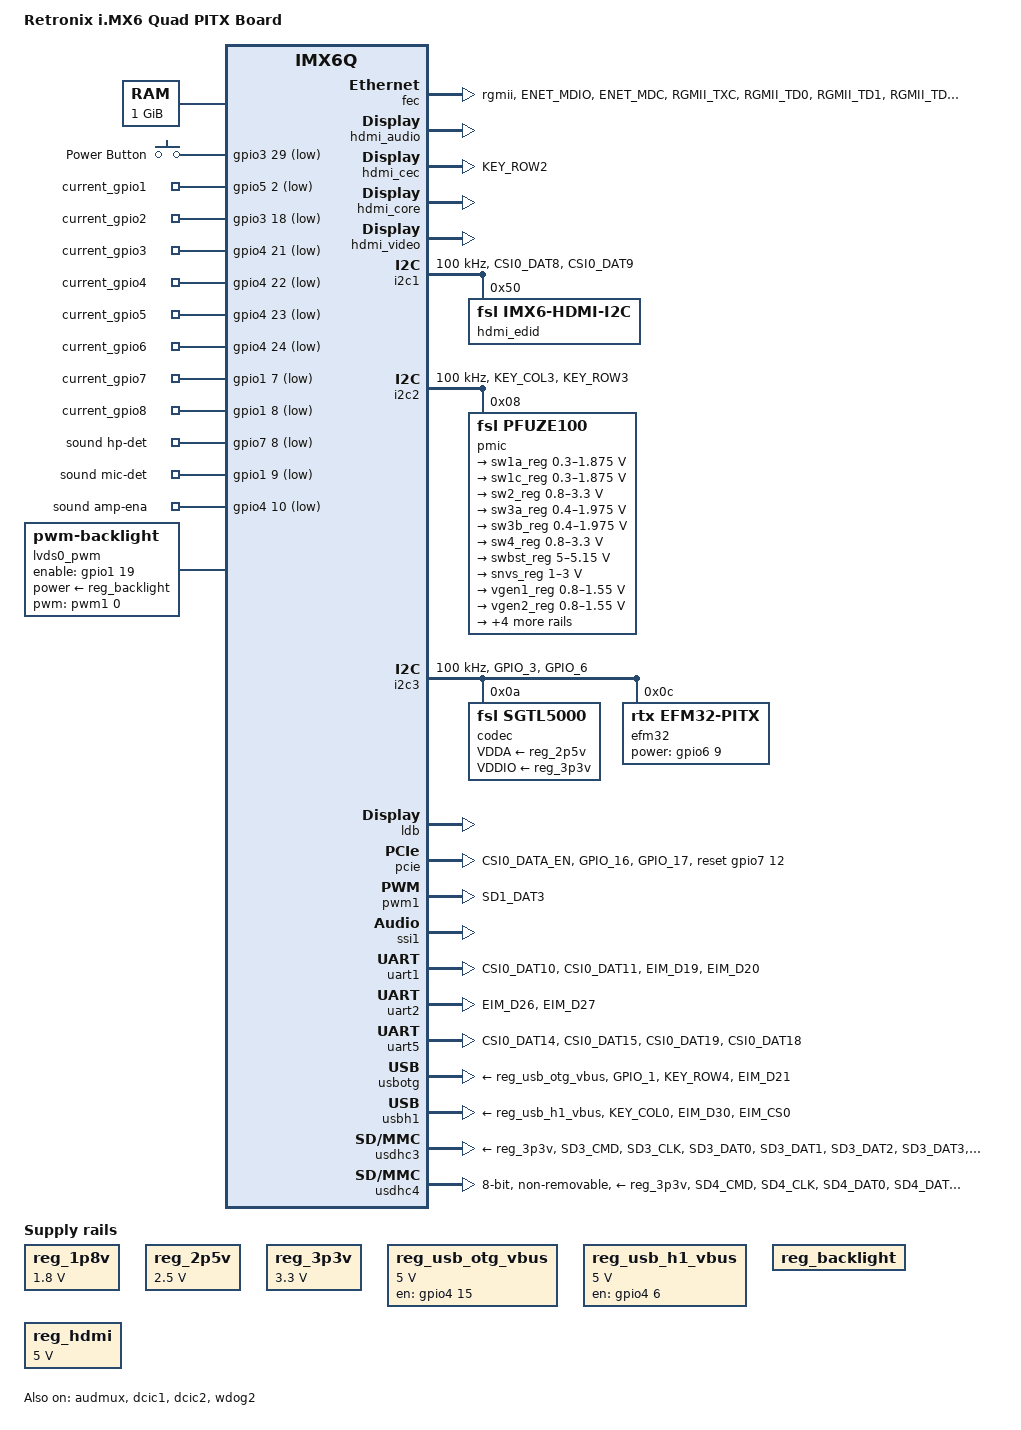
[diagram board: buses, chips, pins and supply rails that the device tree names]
// SPDX-License-Identifier: GPL-2.0+
//
// Copyright 2012 Freescale Semiconductor, Inc.
// Copyright 2011 Linaro Ltd.

/dts-v1/;

#include <dt-bindings/clock/imx6qdl-clock.h>
#include <dt-bindings/gpio/gpio.h>
#include <dt-bindings/input/input.h>
#include "imx6q.dtsi"

/ {
	model = "Retronix i.MX6 Quad PITX Board";
	compatible = "rtx,rtx-imx6q-pitx", "fsl,imx6q";

	aliases {
		mmc0 = &usdhc4;
		mmc1 = &usdhc3;
		mmc2 = &usdhc2;
		mmc3 = &usdhc1;
		mxcfb0 = &mxcfb1;
		mxcfb1 = &mxcfb2;
		mxcfb2 = &mxcfb3;
		mxcfb3 = &mxcfb4;
	};

	memory: memory@10000000 {
		device_type = "memory";
		reg = <0x10000000 0x40000000>;
	};

	reg_1p8v: 1p8v {
		compatible = "regulator-fixed";
		regulator-name = "1P8V";
		regulator-min-microvolt = <1800000>;
		regulator-max-microvolt = <1800000>;
		regulator-always-on;
	};

	reg_2p5v: 2p5v {
		compatible = "regulator-fixed";
		regulator-name = "2P5V";
		regulator-min-microvolt = <2500000>;
		regulator-max-microvolt = <2500000>;
		regulator-always-on;
	};

	reg_3p3v: 3p3v {
		compatible = "regulator-fixed";
		regulator-name = "3P3V";
		regulator-min-microvolt = <3300000>;
		regulator-max-microvolt = <3300000>;
		regulator-always-on;
	};

	reg_usb_otg_vbus: usb_otg_vbus {
		compatible = "regulator-fixed";
		regulator-name = "usb_otg_vbus";
		regulator-min-microvolt = <5000000>;
		regulator-max-microvolt = <5000000>;
		gpio = <&gpio4 15 0>;
		enable-active-high;
	};

	reg_usb_h1_vbus: usb_h1_vbus {
		compatible = "regulator-fixed";
		regulator-name = "usb_h1_vbus";
		regulator-min-microvolt = <5000000>;
		regulator-max-microvolt = <5000000>;
		gpio = <&gpio4 6 0>;
		enable-active-high;
	};

	reg_backlight: backlight {
		compatible = "regulator-fixed";
		regulator-name = "lcd-supply";
		startup-delay-us = <5000>;
		enable-active-high;
	};

	reg_hdmi: regulator-hdmi {
		compatible = "regulator-fixed";
		regulator-name = "hdmi-5v-supply";
		regulator-min-microvolt = <5000000>;
		regulator-max-microvolt = <5000000>;
		enable-active-high;
		hdmi-5v-supply = <&swbst_reg>;
	};

	gpio-keys {
		compatible = "gpio-keys";
		pinctrl-names = "default";
		pinctrl-0 = <&pinctrl_keys_pitx>;

		power {
			label = "Power Button";
			gpios = <&gpio3 29 1>;
			linux,code = <KEY_POWER>; /* KEY_POWER */
			gpio-key,wakeup;
		};

	};

	gpio_export {
		compatible = "gpio-export";

		/* current_gpio1 = <&gpio5 2 0>; 130 */
		current_gpio1 {
			gpio-export,name = "current_gpio1";
			gpio-export,output = <0>;
			gpio-export,direction_may_change ;
			gpios = <&gpio5 2 1>;
		};

		/* current_gpio2 = <&gpio3 18 0>; 82 */
		current_gpio2 {
			gpio-export,name = "current_gpio2";
			gpio-export,output = <1>;
			gpio-export,direction_may_change ;
			gpios = <&gpio3 18 1>;
		};

		/* 3234_en = <&gpio3 22 1>; 86 */
		current_gpio3 {
			gpio-export,name = "current_gpio3";
			gpio-export,output = <1>;
			gpio-export,direction_may_change ;
			gpios = <&gpio4 21 1>;
		};

		/* current_gpio4 = <&gpio4 22 0>; 118 */
		current_gpio4 {
			gpio-export,name = "current_gpio4";
			gpio-export,output = <1>;
			gpio-export,direction_may_change ;
			gpios = <&gpio4 22 1>;
		};

		/* current_gpio5 = <&gpio4 23 0>; 119 */
		current_gpio5 {
			gpio-export,name = "current_gpio5";
			gpio-export,output = <1>;
			gpio-export,direction_may_change ;
			gpios = <&gpio4 23 1>;
		};

		/* current_gpio6 = <&gpio4 24 0>; 120 */
		current_gpio6 {
			gpio-export,name = "current_gpio6";
			gpio-export,output = <1>;
			gpio-export,direction_may_change ;
			gpios = <&gpio4 24 1>;
		};

		/* current_gpio7 = <&gpio1 7 0>; 7 */
		current_gpio7 {
			gpio-export,name = "current_gpio7";
			gpio-export,output = <0>;
			gpio-export,direction_may_change ;
			gpios = <&gpio1 7 1>;
		};

		/* current_gpio8 = <&gpio1 8 0>; 8 */
		current_gpio8 {
			gpio-export,name = "current_gpio8";
			gpio-export,output = <1>;
			gpio-export,direction_may_change ;
			gpios = <&gpio1 8 1>;
		};

	};

	sound {
		compatible = "fsl,imx6q-rtx-pitx-sgtl5000",
			     "fsl,imx-audio-sgtl5000";
		model = "imx6q-rtx-pitx-sgtl5000";
		ssi-controller = <&ssi1>;
		audio-codec = <&codec>;
		audio-routing =
			"MIC_IN", "Mic Jack",
			"LINE_IN", "Line In Jack",
			"Headphone Jack", "HP_OUT",
			"Ext Spk", "LINE_OUT";
		mux-int-port = <1>;
		mux-ext-port = <3>;
		hp-det-gpios = <&gpio7 8 1>;
		mic-det-gpios = <&gpio1 9 1>;
		amp-ena-gpios = <&gpio4 10 1>;
	};

	sound-hdmi {
		compatible = "fsl,imx6q-audio-hdmi",
			     "fsl,imx-audio-hdmi";
		model = "imx-audio-hdmi";
		hdmi-controller = <&hdmi_audio>;
	};

	lvds0_pwm {
		compatible = "pwm-backlight";
		pwms = <&pwm1 0 5000000>;
		brightness-levels = <0 4 8 16 32 64 128 255>;
		default-brightness-level = <6>;
		enable-gpios = <&gpio1 19 0>;
		power-supply = <&reg_backlight>;
		status = "okay";
	};

	hannstar_cabc {
		compatible = "hannstar,cabc";

		lvds0 {
			gpios = <&gpio1 19 GPIO_ACTIVE_HIGH>;
		};
	};

	mxcfb1: fb@0 {
		compatible = "fsl,mxc_sdc_fb";
		disp_dev = "hdmi";
		interface_pix_fmt = "RGB24";
		mode_str ="1920x1080M@60";
		default_bpp = <24>;
		int_clk = <0>;
		late_init = <0>;
		status = "okay";
	};

	mxcfb2: fb@1 {
		compatible = "fsl,mxc_sdc_fb";
		disp_dev = "ldb";
		interface_pix_fmt = "RGB666";
		default_bpp = <16>;
		int_clk = <0>;
		late_init = <0>;
		status = "disabled";
	};

	mxcfb3: fb@2 {
		compatible = "fsl,mxc_sdc_fb";
		disp_dev = "lcd";
		interface_pix_fmt = "RGB565";
		mode_str ="CLAA-WVGA";
		default_bpp = <16>;
		int_clk = <0>;
		late_init = <0>;
		status = "disabled";
	};

	mxcfb4: fb@3 {
		compatible = "fsl,mxc_sdc_fb";
		disp_dev = "ldb";
		interface_pix_fmt = "RGB666";
		default_bpp = <16>;
		int_clk = <0>;
		late_init = <0>;
		status = "disabled";
	};
};

&audmux {
	pinctrl-names = "default";
	pinctrl-0 = <&pinctrl_audmux_pitx>;
	status = "okay";
};

&clks {
	assigned-clocks = <&clks IMX6QDL_CLK_LDB_DI0_SEL>,
			  <&clks IMX6QDL_CLK_LDB_DI1_SEL>;
	assigned-clock-parents = <&clks IMX6QDL_CLK_PLL2_PFD0_352M>,
				 <&clks IMX6QDL_CLK_PLL2_PFD0_352M>;
};

&dcic1 {
	dcic_id = <0>;
	dcic_mux = "dcic-hdmi";
	status = "okay";
};

&dcic2 {
	dcic_id = <1>;
	dcic_mux = "dcic-lvds1";
	status = "okay";
};

&fec {
	pinctrl-names = "default";
	pinctrl-0 = <&pinctrl_enet_pitx>;
	phy-mode = "rgmii";
	phy-reset-gpios = <&gpio1 25 0>;
	phy-reset-fall-duration = <1>;
	phy-reset-rise-duration = <20>;
	phy-reset-boot-on;
	status = "okay";
};

&hdmi_audio {
	status = "okay";
};

&hdmi_cec {
	pinctrl-names = "default";
	pinctrl-0 = <&pinctrl_hdmi_cec_pitx>;
	status = "okay";
};

&hdmi_core {
	ipu_id = <1>;
	disp_id = <0>;
	status = "okay";
};

&hdmi_video {
	fsl,phy_reg_vlev = <0x294>;
	fsl,phy_reg_cksymtx = <0x800d>;
	HDMI-supply = <&reg_hdmi>;
	status = "okay";
};

&i2c1 {
	clock-frequency = <100000>;
	pinctrl-names = "default";
	pinctrl-0 = <&pinctrl_i2c1_pitx>;
	status = "okay";

	hdmi_edid: edid@50 {
		compatible = "fsl,imx6-hdmi-i2c";
		reg = <0x50>;
	};
};

&i2c2 {
	clock-frequency = <100000>;
	pinctrl-names = "default";
	pinctrl-0 = <&pinctrl_i2c2_pitx>;
	status = "okay";

	pmic: pfuze100@8 {
		compatible = "fsl,pfuze100";
		reg = <0x08>;

		regulators {
			sw1a_reg: sw1ab {
				regulator-min-microvolt = <300000>;
				regulator-max-microvolt = <1875000>;
				regulator-boot-on;
				regulator-always-on;
				regulator-ramp-delay = <6250>;
			};

			sw1c_reg: sw1c {
				regulator-min-microvolt = <300000>;
				regulator-max-microvolt = <1875000>;
				regulator-boot-on;
				regulator-always-on;
				regulator-ramp-delay = <6250>;
			};

			sw2_reg: sw2 {
				regulator-min-microvolt = <800000>;
				regulator-max-microvolt = <3300000>;
				regulator-boot-on;
				regulator-always-on;
				regulator-ramp-delay = <6250>;
			};

			sw3a_reg: sw3a {
				regulator-min-microvolt = <400000>;
				regulator-max-microvolt = <1975000>;
				regulator-boot-on;
				regulator-always-on;
			};

			sw3b_reg: sw3b {
				regulator-min-microvolt = <400000>;
				regulator-max-microvolt = <1975000>;
				regulator-boot-on;
				regulator-always-on;
			};

			sw4_reg: sw4 {
				regulator-min-microvolt = <800000>;
				regulator-max-microvolt = <3300000>;
				regulator-boot-on;
				regulator-always-on;
			};

			swbst_reg: swbst {
				regulator-min-microvolt = <5000000>;
				regulator-max-microvolt = <5150000>;
				regulator-always-on;
			};

			snvs_reg: vsnvs {
				regulator-min-microvolt = <1000000>;
				regulator-max-microvolt = <3000000>;
				regulator-boot-on;
				regulator-always-on;
			};

			vref_reg: vrefddr {
				regulator-boot-on;
				regulator-always-on;
			};

			vgen1_reg: vgen1 {
				regulator-min-microvolt = <800000>;
				regulator-max-microvolt = <1550000>;
				regulator-boot-on;
				regulator-always-on;
			};

			vgen2_reg: vgen2 {
				regulator-min-microvolt = <800000>;
				regulator-max-microvolt = <1550000>;
				regulator-boot-on;
				regulator-always-on;
			};

			vgen3_reg: vgen3 {
				regulator-min-microvolt = <1800000>;
				regulator-max-microvolt = <3300000>;
				regulator-boot-on;
				regulator-always-on;
			};

			vgen4_reg: vgen4 {
				regulator-min-microvolt = <1800000>;
				regulator-max-microvolt = <3300000>;
				regulator-always-on;
			};

			vgen5_reg: vgen5 {
				regulator-min-microvolt = <1800000>;
				regulator-max-microvolt = <3300000>;
				regulator-always-on;
			};

			vgen6_reg: vgen6 {
				regulator-min-microvolt = <1800000>;
				regulator-max-microvolt = <3300000>;
				regulator-always-on;
			};
		};
	};
};

&i2c3 {
	clock-frequency = <100000>;
	pinctrl-names = "default";
	pinctrl-0 = <&pinctrl_i2c3_pitx>;
	status = "okay";

	codec: sgtl5000@a {
		compatible = "fsl,sgtl5000";
		reg = <0x0a>;
		clocks = <&clks IMX6QDL_CLK_CKO>;
		VDDA-supply = <&reg_2p5v>;
		VDDIO-supply = <&reg_3p3v>;
		amic-mono;
	};

	efm32: rtx-efm32@c {
		compatible = "rtx,efm32-pitx";
		pinctrl-names = "default";
		pinctrl-0 = <&pinctrl_mcu_pitx>;
		reg = <0x0c>;
		gpio-power = <&gpio6 9 0>;
	};
};

&ldb {
	status = "okay";

	lvds-channel@0 {
		fsl,data-mapping = "spwg";
		fsl,data-width = <24>;
		primary;
		crtc = "ipu1-di0";
		interface_pix_fmt = "RGB24";
		status = "okay";

		display-timings {
			native-mode = <&timing0>;
			timing0: hsd100pxn1 {
				clock-frequency = <65000000>;
				hactive = <1024>;
				hfront-porch = <240>;
				hback-porch = <0>;
				hsync-len = <80>;
				vactive = <768>;
				vfront-porch = <28>;
				vback-porch = <0>;
				vsync-len = <7>;
				mode-is-detailed ;
				de-active = <1>;
			};
		};
	};

	lvds-channel@1 {
		fsl,data-mapping = "spwg";
		fsl,data-width = <24>;
		primary;
		crtc = "ipu1-di1";
		interface_pix_fmt = "RGB24";
		status = "okay";

		display-timings {
			native-mode = <&timing1>;
			timing1: hsd100pxn2 {
				clock-frequency = <65000000>;
				hactive = <1024>;
				hfront-porch = <240>;
				hback-porch = <0>;
				hsync-len = <80>;
				vactive = <768>;
				vfront-porch = <28>;
				vback-porch = <0>;
				vsync-len = <7>;
				mode-is-detailed ;
				de-active = <1>;
			};
		};
	};
};

&pcie {
	pinctrl-names = "default";
	pinctrl-0 = <&pinctrl_pcie_pitx>;
	reset-gpio = <&gpio7 12 0>;
	status = "okay";
};

&pwm1 {
	pinctrl-names = "default";
	pinctrl-0 = <&pinctrl_pwm1>;
	status = "okay";
};

&gpc {
	/* use ldo-enable, u-boot will check it and configure */
	fsl,ldo-bypass = <0>;
};

/*
&reg_arm {
       vin-supply = <&sw1a_reg>;
};

&reg_pu {
       vin-supply = <&sw1c_reg>;
};

&reg_soc {
       vin-supply = <&sw1c_reg>;
};
*/

&reg_vdd1p1 {
	vin-supply = <&vgen5_reg>;
};

&reg_vdd2p5 {
	vin-supply = <&vgen5_reg>;
};

&snvs_poweroff {
	status = "okay";
};

&ssi1 {
	fsl,mode = "i2s-slave";
	status = "okay";
};

&uart1 {
	pinctrl-names = "default", "rs422" ;
	pinctrl-0 = <&pinctrl_uart1_dte_rs232>;
	pinctrl-1 = <&pinctrl_uart1_dte_rs422>;
    /* fsl,dte-mode;
    DTE mode : CSI0_DAT10 is RX; CSI0_DAT11 is TX; EIM_D19 is RTS; EIM_D20 is CTS;
    DCE mode : CSI0_DAT10 is TX; CSI0_DAT11 is RX; EIM_D19 is CTS; EIM_D20 is RTS;
    */
	fsl,dte-mode;
	fsl,uart-has-rtscts;
	fsl,sp339e;
	fsl,sp339e-dir    = <&gpio3 20 0> ;
	fsl,sp339e-m0     = <&gpio3 23 0> ;
	fsl,sp339e-m1     = <&gpio3 25 0> ;
	fsl,sp339e-tm     = <&gpio3 24 0> ;
	fsl,sp339e-slew   = <&gpio4 9 0> ;
	status = "okay";
};

&uart2 {
	pinctrl-names = "default";
	pinctrl-0 = <&pinctrl_uart2_pitx>;
    /* fsl,dte-mode;
    DTE mode : EIM_D26 is RX; EIM_D27 is TX;
    DCE mode : EIM_D26 is TX; EIM_D27 is RX;
    */
	status = "okay";
};

&uart5 {
	pinctrl-names = "default", "rs422";
	pinctrl-0 = <&pinctrl_uart5_dte_rs232>;
	pinctrl-1 = <&pinctrl_uart5_dte_rs422>;
    /* fsl,dte-mode;
    DTE mode : CSI0_DAT14 is RX; CSI0_DAT15 is TX; KEY_ROW4 is RTS; KEY_COL4 is CTS;
    DCE mode : CSI0_DAT14 is TX; CSI0_DAT15 is RX; KEY_ROW4 is CTS; KEY_COL4 is RTS;
    */
	fsl,dte-mode;
	fsl,uart-has-rtscts;
	fsl,sp339e;
	fsl,sp339e-dir    = <&gpio6 4 0> ;
	fsl,sp339e-m0     = <&gpio6 7 0> ;
	fsl,sp339e-m1     = <&gpio6 14 0> ;
	fsl,sp339e-tm     = <&gpio6 16 0> ;
	fsl,sp339e-slew   = <&gpio4 8 0> ;
	status = "okay";
};

&usbotg {
	pinctrl-names = "default";
	pinctrl-0 = <&pinctrl_usbotg_pitx>;
	vbus-supply = <&reg_usb_otg_vbus>;
	status = "okay";
};

&usbh1 {
	pinctrl-names = "default";
	pinctrl-0 = <&pinctrl_usbh1_pitx>;
	vbus-supply = <&reg_usb_h1_vbus>;
	status = "okay";
};

&usdhc3 {
	pinctrl-names = "default";
	pinctrl-0 = <&pinctrl_usdhc3_pitx_50mhz &pinctrl_usdhc3_cd_wp_pitx>;
	cd-gpios = <&gpio2 0 GPIO_ACTIVE_LOW>;
	wp-gpios = <&gpio2 1 GPIO_ACTIVE_HIGH>;
	vmmc-supply = <&reg_3p3v>;
	no-1-8-v;
	keep-power-in-suspend;
	enable-sdio-wakeup;
	status = "okay";
};

&usdhc4 {
	pinctrl-names = "default";
	pinctrl-0 = <&pinctrl_usdhc4_pitx>;
	vmmc-supply = <&reg_3p3v>;
	bus-width = <8>;
	non-removable;
	no-1-8-v;
	keep-power-in-suspend;
	status = "okay";
};

&wdog1 {
	status = "disabled";
};

&wdog2 {
	pinctrl-names = "default";
	pinctrl-0 = <&pinctrl_wdog>;
	fsl,ext-reset-output;
	status = "okay";
};

&iomuxc {
	pinctrl-names = "default";
	pinctrl-0 = <&pinctrl_hog_pitx &pinctrl_pmic_pitx>;

	imx6qdl-sabresd {
		pinctrl_hog_pitx: hoggrp {
			fsl,pins = <
				/* watchdog */
				MX6QDL_PAD_EIM_D31__GPIO3_IO31				0x80000000	/* 3V3_MEN */
				MX6QDL_PAD_EIM_OE__GPIO2_IO25				0x80000000	/* USB_LAN_RESET_B */
				MX6QDL_PAD_EIM_D22__GPIO3_IO22				0x80000000	/* 3234_EN */
				MX6QDL_PAD_NANDF_CS3__GPIO6_IO16			0x80000000	/* UART5_TM */
				MX6QDL_PAD_NANDF_CS1__GPIO6_IO14			0x80000000	/* UART5_M1 */
				MX6QDL_PAD_NANDF_CLE__GPIO6_IO07			0x80000000	/* UART5_M0 */
				MX6QDL_PAD_KEY_COL1__GPIO4_IO08				0x80000000	/* UART5_SLEW */
				MX6QDL_PAD_EIM_D24__GPIO3_IO24				0x80000000	/* UART1_TM */
				MX6QDL_PAD_EIM_D25__GPIO3_IO25				0x80000000	/* UART1_M1 */
				MX6QDL_PAD_EIM_D23__GPIO3_IO23				0x80000000	/* UART1_M0 */
				MX6QDL_PAD_KEY_ROW1__GPIO4_IO09				0x80000000	/* UART1_SLEW */
				MX6QDL_PAD_NANDF_ALE__GPIO6_IO08			0x80000000	/* SD4_RESETn */
				MX6QDL_PAD_GPIO_5__GPIO1_IO05				0x80000000	/* CAN1_STBY */

				/* LVDS */
				MX6QDL_PAD_SD1_DAT2__GPIO1_IO19				0x80000000	/* LVDS_BLEN */

				/* GPIO */
				MX6QDL_PAD_EIM_A25__GPIO5_IO02			0x80000000	/* GPIO1 */
				MX6QDL_PAD_EIM_D18__GPIO3_IO18			0x80000000	/* GPIO2 */
				MX6QDL_PAD_DISP0_DAT0__GPIO4_IO21			0x80000000	/* GPIO3 */
				MX6QDL_PAD_DISP0_DAT1__GPIO4_IO22			0x80000000	/* GPIO4 */
				MX6QDL_PAD_DISP0_DAT2__GPIO4_IO23			0x80000000	/* GPIO5 */
				MX6QDL_PAD_DISP0_DAT3__GPIO4_IO24			0x80000000	/* GPIO6 */
				MX6QDL_PAD_GPIO_7__GPIO1_IO07				0x80000000	/* GPIO7 */
				MX6QDL_PAD_GPIO_8__GPIO1_IO08				0x80000000	/* GPIO8 */

				/* Audio Codec */
				MX6QDL_PAD_GPIO_0__CCM_CLKO1				0x130b0		/* SGTL5000 sys_mclk */
				MX6QDL_PAD_SD3_RST__GPIO7_IO08				0x80000000	/* HEADPHONE_DET */
				MX6QDL_PAD_GPIO_9__GPIO1_IO09				0x80000000	/* MICROPHONE_DET */
				MX6QDL_PAD_KEY_COL2__GPIO4_IO10				0x80000000	/* AUD_AMP_STBY_B */
			>;
		};

		pinctrl_pmic_pitx: pmic-pitx {
			fsl,pins = <
				MX6QDL_PAD_GPIO_18__GPIO7_IO13				0x80000000	/* PMIC INT */
			>;
		};

		pinctrl_mcu_pitx: mcu-pitx {
			fsl,pins = <
				MX6QDL_PAD_NANDF_RB0__GPIO6_IO10			0x80000000	/* MCU Reset */
				MX6QDL_PAD_NANDF_WP_B__GPIO6_IO09			0x80000000	/* MCU_UPDATE_PWR_ON */
				MX6QDL_PAD_NANDF_CS0__GPIO6_IO11			0x80000000	/* MCU_BOOT_EN */
				MX6QDL_PAD_GPIO_4__GPIO1_IO04				0x80000000	/* MCU_INT */
			>;
		};

		pinctrl_audmux_pitx: audmux-pitx {
			fsl,pins = <
				MX6QDL_PAD_CSI0_DAT7__AUD3_RXD		0x130b0
				MX6QDL_PAD_CSI0_DAT4__AUD3_TXC		0x130b0
				MX6QDL_PAD_CSI0_DAT5__AUD3_TXD		0x110b0
				MX6QDL_PAD_CSI0_DAT6__AUD3_TXFS		0x130b0
			>;
		};

		pinctrl_cspi3_pitx: cspi3-pitx {
			fsl,pins = <
				MX6QDL_PAD_DISP0_DAT0__ECSPI3_SCLK			0x1b0b0		/* CSPI3_CLK */
				MX6QDL_PAD_DISP0_DAT1__ECSPI3_MOSI			0x1b0b0		/* CSPI3_MOSI */
				MX6QDL_PAD_DISP0_DAT2__ECSPI3_MISO			0x1b0b0		/* CSPI3_MISO */
				MX6QDL_PAD_DISP0_DAT3__GPIO4_IO24           		0x80000000	/* CSPI3_CS0 */
			>;
		};

		pinctrl_flexcan1_pitx: flexcan1-pitx {
			fsl,pins = <
				MX6QDL_PAD_GPIO_7__FLEXCAN1_TX				0x1b0b0		/* CAN1_TX */
				MX6QDL_PAD_GPIO_8__FLEXCAN1_RX				0x1b0b0		/* CAN1_RX */
			>;
		};

		pinctrl_enet_pitx: enet-pitx {
			fsl,pins = <
				MX6QDL_PAD_ENET_MDIO__ENET_MDIO				0x1b0b0			/* RGMII_MDIO */
				MX6QDL_PAD_ENET_MDC__ENET_MDC				0x1b0b0			/* RGMII_MDC */
				MX6QDL_PAD_RGMII_TXC__RGMII_TXC				0x1b0b0
				MX6QDL_PAD_RGMII_TD0__RGMII_TD0				0x1b0b0
				MX6QDL_PAD_RGMII_TD1__RGMII_TD1				0x1b0b0
				MX6QDL_PAD_RGMII_TD2__RGMII_TD2				0x1b0b0
				MX6QDL_PAD_RGMII_TD3__RGMII_TD3				0x1b0b0
				MX6QDL_PAD_RGMII_TX_CTL__RGMII_TX_CTL			0x1b0b0
				MX6QDL_PAD_ENET_REF_CLK__ENET_TX_CLK			0x4001b0a8		/* ENET_REFCLK */
				MX6QDL_PAD_RGMII_RXC__RGMII_RXC				0x1b0b0
				MX6QDL_PAD_RGMII_RD0__RGMII_RD0				0x1b0b0
				MX6QDL_PAD_RGMII_RD1__RGMII_RD1				0x1b0b0
				MX6QDL_PAD_RGMII_RD2__RGMII_RD2				0x1b0b0
				MX6QDL_PAD_RGMII_RD3__RGMII_RD3				0x1b0b0
				MX6QDL_PAD_RGMII_RX_CTL__RGMII_RX_CTL			0x1b0b0
				MX6QDL_PAD_ENET_RXD1__GPIO1_IO26			0x000b1			/* RGMII_INT */
				MX6QDL_PAD_ENET_CRS_DV__GPIO1_IO25			0x1b0b0			/* RGMII_nRST */
			>;
		};

		pinctrl_hdmi_cec_pitx: hdmicec-pitx {
			fsl,pins = <
				MX6QDL_PAD_KEY_ROW2__HDMI_TX_CEC_LINE		0x1f8b0
			>;
		};

		pinctrl_hdmi_hdcp: hdmihdcpgrp {
			fsl,pins = <
				MX6QDL_PAD_KEY_COL3__HDMI_TX_DDC_SCL 0x4001b8b1
				MX6QDL_PAD_KEY_ROW3__HDMI_TX_DDC_SDA 0x4001b8b1
			>;
		};

		pinctrl_i2c1_pitx: i2c1-pitx {
			fsl,pins = <
				MX6QDL_PAD_CSI0_DAT8__I2C1_SDA			0x4001b8b1
				MX6QDL_PAD_CSI0_DAT9__I2C1_SCL			0x4001b8b1
			>;
		};

		pinctrl_i2c2_pitx: i2c2-pitx {
			fsl,pins = <
				MX6QDL_PAD_KEY_COL3__I2C2_SCL		0x4001b8b1
				MX6QDL_PAD_KEY_ROW3__I2C2_SDA		0x4001b8b1
			>;
		};

		pinctrl_i2c3_pitx: i2c3-pitx {
			fsl,pins = <
				MX6QDL_PAD_GPIO_3__I2C3_SCL			0x4001b8b1
				MX6QDL_PAD_GPIO_6__I2C3_SDA			0x4001b8b1
			>;
		};

		pinctrl_pcie_pitx: pcie-pitx {
			fsl,pins = <
				MX6QDL_PAD_CSI0_DATA_EN__GPIO5_IO20			0x1b0b0		/* PCIE_WAKE_B */
				MX6QDL_PAD_GPIO_16__GPIO7_IO11				0x1b0b0		/* PCIE_DIS_B */
				MX6QDL_PAD_GPIO_17__GPIO7_IO12				0x1b0b0		/* PCIE_RST */
			>;
		};

		pinctrl_pwm1: pwm1grp {
			fsl,pins = <
				MX6QDL_PAD_SD1_DAT3__PWM1_OUT		0x1b0b1
			>;
		};

		/* DTE mode */
		pinctrl_uart1_dte_rs232: uart1-dtegrp1 {
			fsl,pins = <
				MX6QDL_PAD_CSI0_DAT10__UART1_RX_DATA 		0x1b0b1
				MX6QDL_PAD_CSI0_DAT11__UART1_TX_DATA 		0x1b0b1
				MX6QDL_PAD_EIM_D19__UART1_RTS_B 		0x1b0b1
				MX6QDL_PAD_EIM_D20__UART1_CTS_B 		0x1b0b1
			>;
		};
		pinctrl_uart1_dte_rs422: uart1-dtegrp2 {
			fsl,pins = <
				MX6QDL_PAD_CSI0_DAT10__UART1_RX_DATA 		0x1b0b1
				MX6QDL_PAD_CSI0_DAT11__UART1_TX_DATA 		0x1b0b1
				MX6QDL_PAD_EIM_D19__UART1_RTS_B 		0x1b0b1
				MX6QDL_PAD_EIM_D20__GPIO3_IO20			0x80000000
			>;
		};

		pinctrl_uart2_pitx: uart2-pitx {
			fsl,pins = <
				MX6QDL_PAD_EIM_D26__UART2_TX_DATA	0x1b0b1
				MX6QDL_PAD_EIM_D27__UART2_RX_DATA	0x1b0b1
			>;
		};

		/* DTE mode */
		pinctrl_uart5_dte_rs232: uart5-dtegrp1 {
			fsl,pins = <
				MX6QDL_PAD_CSI0_DAT14__UART5_RX_DATA		0x1b0b1
				MX6QDL_PAD_CSI0_DAT15__UART5_TX_DATA		0x1b0b1
				MX6QDL_PAD_CSI0_DAT19__UART5_RTS_B		0x1b0b1
				MX6QDL_PAD_CSI0_DAT18__UART5_CTS_B		0x1b0b1
			>;
		};
		pinctrl_uart5_dte_rs422: uart5-dtegrp2 {
			fsl,pins = <
				MX6QDL_PAD_CSI0_DAT14__UART5_RX_DATA		0x1b0b1
				MX6QDL_PAD_CSI0_DAT15__UART5_TX_DATA		0x1b0b1
				MX6QDL_PAD_CSI0_DAT19__UART5_RTS_B		0x1b0b1
				MX6QDL_PAD_CSI0_DAT18__GPIO6_IO04		0x80000000
			>;
		};

		pinctrl_usbh1_pitx: usbh1-pitx {
			fsl,pins = <
				MX6QDL_PAD_KEY_COL0__GPIO4_IO06				0x000b0		/* USB_H1_PWR_EN */
				MX6QDL_PAD_EIM_D30__USB_H1_OC				0x1b0b0		/* USB_H1_OC */
				MX6QDL_PAD_EIM_CS0__GPIO2_IO23				0x80000000	/* USB_HUB_RESET_B */
			>;
		};

		pinctrl_usbotg_pitx: usbotggrp {
			fsl,pins = <
				MX6QDL_PAD_GPIO_1__USB_OTG_ID				0x17059		/* USB_OTG_ID */
				MX6QDL_PAD_KEY_ROW4__GPIO4_IO15			0x80000000		/* USB_OTG_PWR */
				MX6QDL_PAD_EIM_D21__USB_OTG_OC				0x1b0b0		/* USB_OTG_OC */
			>;
		};

		pinctrl_usdhc3_cd_wp_pitx: usdhc3-cd-wp-pitx {
			fsl,pins = <
				MX6QDL_PAD_NANDF_D0__GPIO2_IO00				0x80000000	/* SD3_CD */
				MX6QDL_PAD_NANDF_D1__GPIO2_IO01				0x80000000	/* SD3_WP */
			>;
		};

		pinctrl_usdhc3_pitx_50mhz: usdhc3-pitx-50mhz {						/* 50Mhz */
			fsl,pins = <
				MX6QDL_PAD_SD3_CMD__SD3_CMD				0x17059
				MX6QDL_PAD_SD3_CLK__SD3_CLK				0x10059
				MX6QDL_PAD_SD3_DAT0__SD3_DATA0				0x17059
				MX6QDL_PAD_SD3_DAT1__SD3_DATA1				0x17059
				MX6QDL_PAD_SD3_DAT2__SD3_DATA2				0x17059
				MX6QDL_PAD_SD3_DAT3__SD3_DATA3				0x17059

			>;
		};

		pinctrl_usdhc3_pitx_100mhz: usdhc3-pitx-100mhz { 					/* 100Mhz */
			fsl,pins = <
				MX6QDL_PAD_SD3_CMD__SD3_CMD				0x170B9
				MX6QDL_PAD_SD3_CLK__SD3_CLK				0x100B9
				MX6QDL_PAD_SD3_DAT0__SD3_DATA0				0x170B9
				MX6QDL_PAD_SD3_DAT1__SD3_DATA1				0x170B9
				MX6QDL_PAD_SD3_DAT2__SD3_DATA2				0x170B9
				MX6QDL_PAD_SD3_DAT3__SD3_DATA3				0x170B9
			>;
		};

		pinctrl_usdhc3_pitx_200mhz: usdhc3-pitx-200mhz { 					/* 200Mhz */
			fsl,pins = <
				MX6QDL_PAD_SD3_CMD__SD3_CMD				0x170F9
				MX6QDL_PAD_SD3_CLK__SD3_CLK				0x100F9
				MX6QDL_PAD_SD3_DAT0__SD3_DATA0				0x170F9
				MX6QDL_PAD_SD3_DAT1__SD3_DATA1				0x170F9
				MX6QDL_PAD_SD3_DAT2__SD3_DATA2				0x170F9
				MX6QDL_PAD_SD3_DAT3__SD3_DATA3				0x170F9
				MX6QDL_PAD_SD3_DAT4__SD3_DATA4				0x170F9
				MX6QDL_PAD_SD3_DAT5__SD3_DATA5				0x170F9
				MX6QDL_PAD_SD3_DAT6__SD3_DATA6				0x170F9
				MX6QDL_PAD_SD3_DAT7__SD3_DATA7				0x170F9
			>;
		};

		pinctrl_usdhc4_pitx: usdhc4grp {
			fsl,pins = <
				MX6QDL_PAD_SD4_CMD__SD4_CMD				0x17059
				MX6QDL_PAD_SD4_CLK__SD4_CLK				0x10059
				MX6QDL_PAD_SD4_DAT0__SD4_DATA0				0x17059
				MX6QDL_PAD_SD4_DAT1__SD4_DATA1				0x17059
				MX6QDL_PAD_SD4_DAT2__SD4_DATA2				0x17059
				MX6QDL_PAD_SD4_DAT3__SD4_DATA3				0x17059
				MX6QDL_PAD_SD4_DAT4__SD4_DATA4				0x17059
				MX6QDL_PAD_SD4_DAT5__SD4_DATA5				0x17059
				MX6QDL_PAD_SD4_DAT6__SD4_DATA6				0x17059
				MX6QDL_PAD_SD4_DAT7__SD4_DATA7				0x17059
			>;
		};

		pinctrl_keys_pitx: keys-pitx {
			fsl,pins = <
					/* special key */
				MX6QDL_PAD_EIM_D29__GPIO3_IO29				0x80000000	/* PWR_BTN_SNS */
			>;
		};

		pinctrl_wdog: wdoggrp {
			fsl,pins = <
				MX6QDL_PAD_DISP0_DAT9__WDOG2_B				0x80000000	/* WDOG_B to reset pmic */
			>;
		};
	};

};
